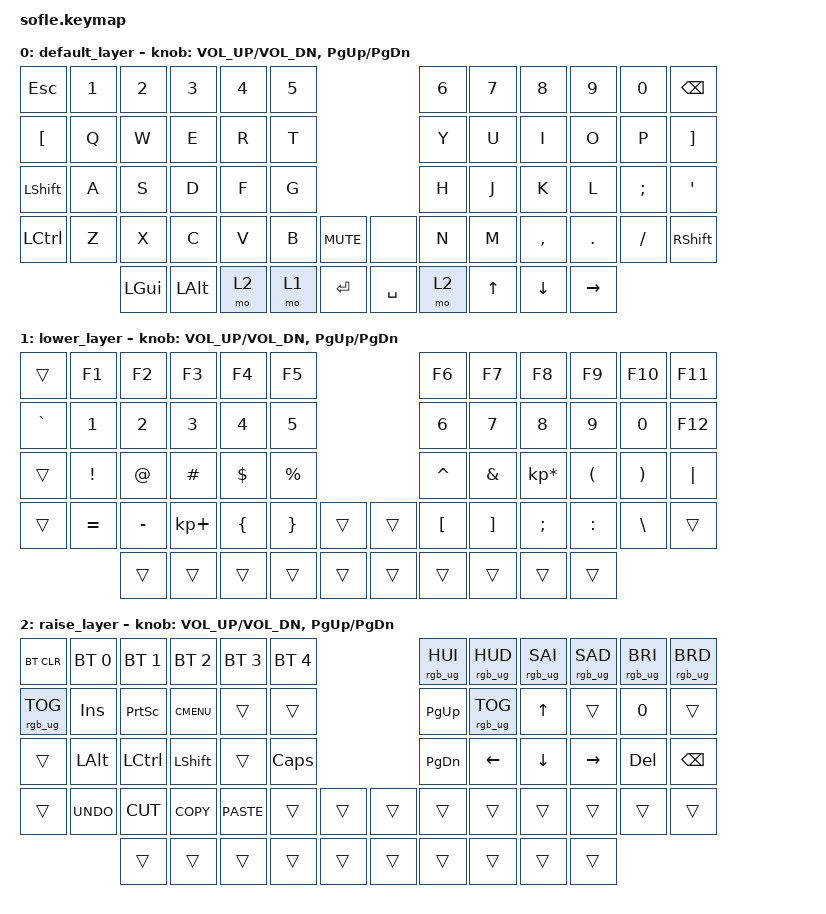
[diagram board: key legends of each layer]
/*
 * Copyright (c) 2020 The ZMK Contributors
 *
 * SPDX-License-Identifier: MIT
 */

#include <behaviors.dtsi>
#include <dt-bindings/zmk/keys.h>
#include <dt-bindings/zmk/bt.h>
#include <dt-bindings/zmk/rgb.h>

/ {
    keymap {
        compatible = "zmk,keymap";

        default_layer {
// ------------------------------------------------------------------------------------------------------------
// |  ESC  |  1  |  2  |  3   |  4   |  5   |                   |  6   |  7    |  8    |  9   |   0   | BKSPC |
// |  [    |  Q  |  W  |  E   |  R   |  T   |                   |  Y   |  U    |  I    |  O   |   P   |   ]   |
// | SHIFT |  A  |  S  |  D   |  F   |  G   |                   |  H   |  J    |  K    |  L   |   ;   |   '   |
// | LCTRO |  Z  |  X  |  C   |  V   |  B   |  MUTE  |  |       |  N   |  M    |  ,    |  .   |   /   | SHIFT |
//               | GUI | ALT  | RAISE| LOWER|  ENTER |  | SPACE | RAISE| CTRL  | ALT   | GUI  |
            bindings = <
&kp ESC	  &kp N1 &kp N2   &kp N3   &kp N4    &kp N5                      &kp N6 &kp N7    &kp N8    &kp N9   &kp N0   &kp BSPC
&kp LBKT  &kp Q  &kp W    &kp E    &kp R     &kp T                       &kp Y  &kp U     &kp I     &kp O    &kp P    &kp RBKT
&kp LSHFT &kp A  &kp S    &kp D    &kp F     &kp G                       &kp H  &kp J     &kp K     &kp L    &kp SEMI &kp SQT
&kp LCTRL &kp Z  &kp X    &kp C    &kp V     &kp B  &kp C_MUTE &none     &kp N  &kp M     &kp COMMA &kp DOT  &kp FSLH &kp RSHFT
                 &kp LGUI &kp LALT &mo 2     &mo 1  &kp RET    &kp SPACE &mo 2 &kp UP &kp DOWN  &kp RIGHT
            >;

            sensor-bindings = <&inc_dec_kp C_VOL_UP C_VOL_DN &inc_dec_kp PG_UP PG_DN>;
        };

        lower_layer {
// TODO: Some binds are waiting for shifted keycode support.
// ------------------------------------------------------------------------------------------------------------
// |       |  F1 |  F2 |  F3  |  F4  |  F5  |                   |  F6  |  F7   |  F8   |  F9  |  F10  |  F11  |
// | `     |   1 |   2 |   3  |   4  |   5  |                   |   6  |   7   |   8   |   9  |    0  |  F12  |
// |       |  !  |  @  |  #   |  $   |  %   |                   |  ^   |  &    |  *    |  (   |   )   |   |   |
// |       |  =  |  -  |  +   |  {   |  }   |        |  |       |  [   |  ]    |  ;    |  :   |   \   |       |
//               |     |      |      |      |        |  |       |      |       |       |      |
            bindings = <
&trans    &kp F1    &kp F2    &kp F3      &kp F4    &kp F5                    &kp F6    &kp F7   &kp F8          &kp F9    &kp F10   &kp F11
&kp GRAVE &kp N1    &kp N2    &kp N3      &kp N4    &kp N5                    &kp N6    &kp N7   &kp N8          &kp N9    &kp N0    &kp F12
&trans    &kp EXCL  &kp AT    &kp HASH    &kp DLLR  &kp PRCNT                 &kp CARET &kp AMPS &kp KP_MULTIPLY &kp LPAR  &kp RPAR  &kp PIPE
&trans    &kp EQUAL &kp MINUS &kp KP_PLUS &kp LBRC  &kp RBRC  &trans   &trans &kp LBKT  &kp RBKT &kp SEMI        &kp COLON &kp BSLH  &trans
                    &trans    &trans      &trans    &trans    &trans   &trans &trans    &trans   &trans          &trans
            >;

            sensor-bindings = <&inc_dec_kp C_VOL_UP C_VOL_DN &inc_dec_kp PG_UP PG_DN>;
        };

        raise_layer {
// ------------------------------------------------------------------------------------------------------------
// |BTCLR| BT1  | BT2  |  BT3  |  BT4  |  BT5 |                |      |      |       |      |       |       |
// |rgb on| INS  | PSCR | GUI   |       |      |                | PGUP |rgboff|   ^   |      |       |       |
// |     | ALT  | CTRL | SHIFT |       | CAPS |                | PGDN |   <- |   v   |  ->  |  DEL  | BKSPC |
// |     | UNDO | CUT  | COPY  | PASTE |      |      |  |      |      |      |       |      |       |       |
//              |      |       |       |      |      |  |      |      |      |       |      |
            bindings = <
&bt BT_CLR &bt BT_SEL 0 &bt BT_SEL 1 &bt BT_SEL 2 &bt BT_SEL 3 &bt BT_SEL 4             &rgb_ug RGB_HUI    &rgb_ug RGB_HUD   &rgb_ug RGB_SAI  &rgb_ug RGB_SAD   &rgb_ug RGB_BRI &rgb_ug RGB_BRD
&rgb_ug RGB_TOG     &kp INS      &kp PSCRN    &kp K_CMENU  &trans       &trans                   &kp PG_UP &rgb_ug RGB_TOG    &kp UP   &trans    &kp N0  &trans
&trans     &kp LALT     &kp LCTRL    &kp LSHFT    &trans       &kp CLCK                 &kp PG_DN &kp LEFT  &kp DOWN &kp RIGHT &kp DEL &kp BSPC
&trans     &kp K_UNDO   &kp K_CUT    &kp K_COPY   &kp K_PASTE  &trans  &trans   &trans  &trans    &trans    &trans   &trans    &trans  &trans
                        &trans       &trans       &trans       &trans  &trans   &trans  &trans    &trans    &trans   &trans
            >;

            sensor-bindings = <&inc_dec_kp C_VOL_UP C_VOL_DN &inc_dec_kp PG_UP PG_DN>;
        };
    };
    
};
&spi1 {
	compatible = "nordic,nrf-spim";
	status = "okay";
	mosi-pin = <6>;
	// Unused pins, needed for SPI definition, but not used by the ws2812 driver itself.
	sck-pin = <5>;
	miso-pin = <7>;

	led_strip: ws2812@0 {
		compatible = "worldsemi,ws2812-spi";
		label = "WS2812";

		/* SPI */
		reg = <0>; /* ignored, but necessary for SPI bindings */
		spi-max-frequency = <4000000>;

		/* WS2812 */
		chain-length = <11>; /* number of LEDs */
		spi-one-frame = <0x70>;
		spi-zero-frame = <0x40>;
	};
};
/ {
	chosen {
		zmk,underglow = &led_strip;
	};
};
